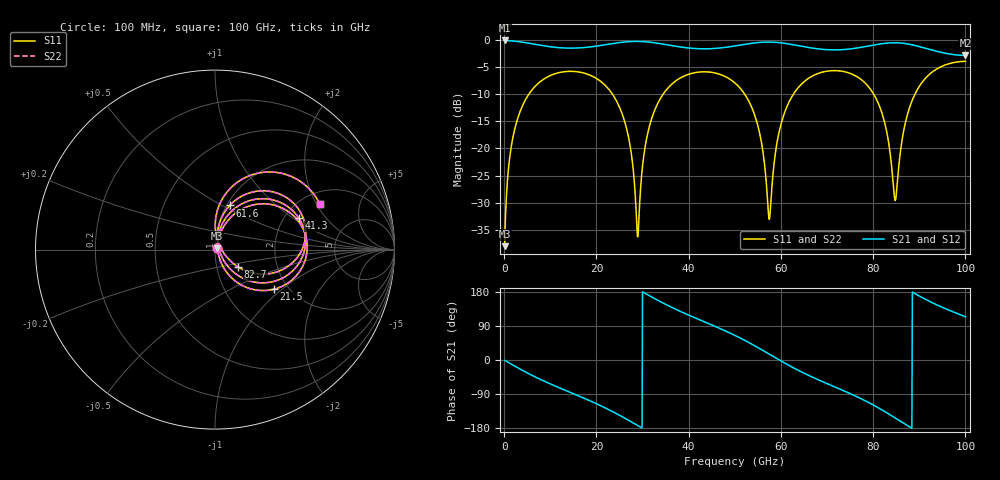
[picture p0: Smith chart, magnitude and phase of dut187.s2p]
! Touchstone file exported from HFSS 2026.1.0
!  File:  C:/ffzhzh/LocalFiles/Ansys_Project_Files/temp_train_TSV_RDL_187_1783654743_29156.aedt
!  Generated:  11:48:29 AM Jul 10, 2026
!  Design:  TSV_RDL
!  Project:  temp_train_TSV_RDL_187_1783654743_29156
! Variables:
!  h_bsmrdl = 2.71um
!  h_ox = 20um
!  h_rdl = 5um
!  h_sub = 89.59um
!  h_tmrdl = 2.17um
!  h_tsv = 89.59um
!  h_via = 3um
!  l_bsmrdl = 223.61um
!  l_sub = 1830.56um
!  l_tmrdl = 153.1um
!  m_sub = 200um
!  pitch = 56.52um
!  r_tsv = 7.41um
!  s_tmrdl = 10um
!  w_bsmrdl = 27.17um
!  w_sub = 500um
!  w_tmrdl = 21.94um
!  x_tsv_center1 = 164.07um
!  x_tsv_center2 = 414.85um
!  x_tsv_center3 = 589.89um
!  x_tsv_center4 = 840.67um
!  x_tsv_center5 = 1015.71um
!  x_tsv_center6 = 1266.49um
# GHz S MA R 50.000000
! Terminal data exported
! Port[1] = TM_RDL1_1_T1
! Port[2] = TM_RDL5_1_T1
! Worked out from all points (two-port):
!   1000 points, 100 MHz to 100 GHz, reference 50 ohm
!   highest |S21| = -0.09 dB at 100 MHz (marker M1); lowest = -2.9 dB at 100 GHz (marker M2)
!   |S21| within 3 dB of the highest: start of sweep to end of sweep
!   lowest |S11| = -38.0 dB at 100 MHz (marker M3), VSWR 1.03, Z = 51 + j0.728 ohm
!   |S11| at or under -10 dB: 23.48 GHz to 34.46 GHz (10.98 GHz wide, 37.9 % of centre); 52.16 GHz to 62.71 GHz (10.55 GHz wide, 18.4 % of centre); 80.12 GHz to 89.06 GHz (8.934 GHz wide, 10.6 % of centre) (the widest 3 of 4)
!   |S22| runs from -38.0 to -3.9 dB; largest |S21 - S12| = 1.9e-14
!   S11 on the Smith chart (normalised r, x): 100 MHz: 1.02, +0.01; 21.5 GHz: 1.69, -0.88; 41.3 GHz: 2.39, +1.11; 61.6 GHz: 1.03, +0.54; 82.7 GHz: 1.26, -0.25; 100 GHz: 2.49, +2.13
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0.1  0.01258 34.5  0.9897 -0.7  0.9897 -0.7  0.01258 34.5
! Gamma 0 0 0 0
! Port Impedance 50 0 50 0
1.5  0.1013 71.7  0.9814 -10.6  0.9814 -10.6  0.1013 71.7
4.3  0.2646 57.1  0.9486 -29.5  0.9486 -29.5  0.2646 57.1
16.8  0.5012 -9.0  0.8478 -98.1  0.8478 -98.1  0.5012 -9.1
21.5  0.3962 -33.8  0.8976 -123.9  0.8976 -123.9  0.3962 -33.9
26.5  0.1552 -61.7  0.9612 -155.8  0.9612 -155.8  0.1551 -62.0
28.9  0.01543 -6.6  0.9703 -172.5  0.9703 -172.5  0.01487 -7.2
30.8  0.118 76.1  0.9616 174.3  0.9616 174.3  0.118 76.3
33.4  0.2652 63.1  0.9314 157.0  0.9314 157.0  0.2652 63.2
41.3  0.4992 20.5  0.8343 111.7  0.8343 111.7  0.4991 20.5
50.1  0.3993 -24.3  0.8815 64.6  0.8815 64.6  0.3993 -24.3
54.8  0.1743 -49.7  0.9441 34.3  0.9441 34.3  0.1742 -49.7
57.5  0.0222 18.1  0.9564 15.3  0.9564 15.3  0.02216 18.3
59.3  0.1222 81.5  0.948 2.5  0.948 2.5  0.1223 81.5
61.6  0.2591 71.6  0.9208 -13.3  0.9208 -13.3  0.2592 71.6
66.7  0.4622 43.5  0.8431 -44.5  0.8431 -44.5  0.4622 43.5
77  0.4445 -8.4  0.8497 -99.9  0.8497 -99.9  0.4444 -8.5
82.7  0.159 -36.9  0.9327 -137.4  0.9327 -137.4  0.1588 -37.2
83.4  0.1103 -36.5  0.9382 -142.5  0.9382 -142.5  0.11 -36.8
84.8  0.03315 27.5  0.942 -153.1  0.942 -153.1  0.03244 27.6
89.4  0.3376 77.3  0.8825 173.0  0.8825 173.0  0.3376 77.4
100  0.6357 23.6  0.72 114.1  0.72 114.1  0.6357 23.6
